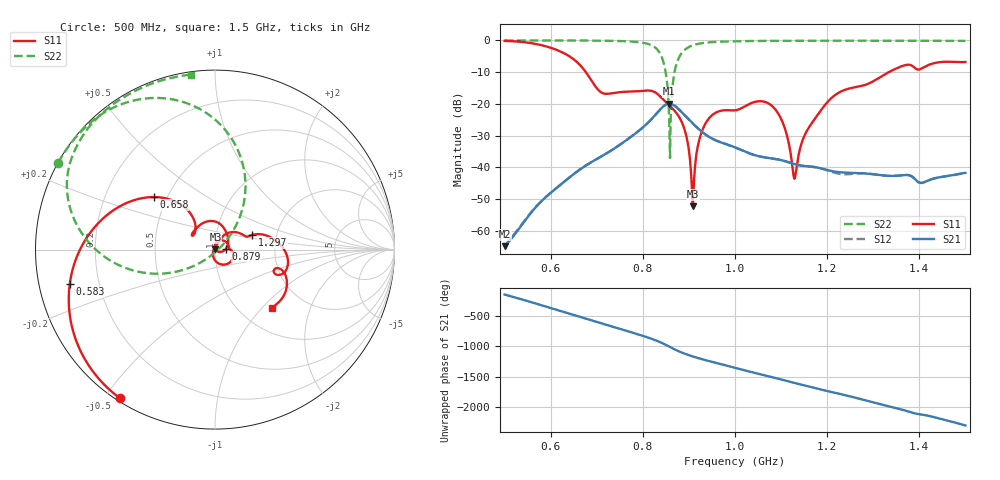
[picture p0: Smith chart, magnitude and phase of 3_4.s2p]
! TOUCHSTONE file generated by CST MICROWAVE STUDIO
! Date and time: Fri Oct  2 16:53:49 2020
! Project name: Scenario_1_Free_Space_out_of_line.cst
! Parameters = {Lambda=346.42; Step_1=17.321; dy1=312.958; dx1=693; L_HA=400; MT=2.54; Rad_Dielectric=30; Rad_Lower=7.3; Rad_Upper=30; a_HA=580; a_WG=246; b_HA=500; b_WG=121; c_HA=0; c_WG=187; d_feed=85; h_feed=15; h_lower=18; h_upper=40}
! Header version: 2018
! Port assignment regex: !\s*Touchstone port\s*([0-9]+)\s*=\s*(CST MWS port|CST DS port)\s*([0-9]+|Zmin|Zmax)\s*\(\"(.*)\"\)(\s*mode\s*([0-9]+))?.*
! Touchstone port assignment:
! Touchstone port 1 = CST MWS port 1 ("")
! Touchstone port 2 = CST MWS port 2 ("")
# GHz S DB R 50
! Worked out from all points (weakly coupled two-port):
!   1003 points, 500 MHz to 1.5 GHz, reference 50 ohm
!   highest |S21| = -19.91 dB at 857 MHz (marker M1); lowest = -64.8 dB at 500 MHz (marker M2)
!   lowest |S11| = -52.2 dB at 908 MHz (marker M3), VSWR 1.00, Z = 50.2 + j0.0716 ohm
!   |S11| at or under -10 dB: 676.3 MHz to 1.334 GHz (657.3 MHz wide, 65.4 % of centre)
!   |S22| runs from -37.0 to 0.0 dB; largest |S21 - S12| = 0.00065
!   S11 on the Smith chart (normalised r, x): 500 MHz: 0.01, -0.55; 583 MHz: 0.09, -0.12; 658 MHz: 0.42, +0.31; 879 MHz: 1.13, +0.01; 1.297 GHz: 1.49, +0.25; 1.5 GHz: 1.39, -1.15
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0.5  -0.15 -122.6  -64.79 -142.5  -64.59 -142.5  -0.01 151.2
0.583  -1.60 -166.7  -50.20 33.7  -50.17 33.6  -0.02 145.4
0.658  -6.94 139.4  -41.21 -138.6  -41.22 -138.6  -0.04 139.2
0.667  -8.29 132.8  -40.28 -160.0  -40.29 -159.9  -0.04 138.3
0.714  -16.66 139.6  -36.19 91.4  -36.19 91.5  -0.09 133.1
0.79  -15.99 128.1  -28.60 -81.9  -28.60 -81.9  -0.54 117.3
0.834  -17.14 73.8  -22.33 161.9  -22.33 161.9  -3.33 86.2
0.848  -19.16 53.1  -20.39 112.5  -20.38 112.5  -8.81 62.3
0.857  -20.41 40.4  -19.91 76.9  -19.91 76.9  -24.04 35.0
0.879  -24.17 4.9  -21.83 -4.3  -21.82 -4.3  -5.21 -171.2
0.895  -30.53 -26.2  -24.19 -51.9  -24.18 -51.9  -2.50 172.8
0.908  -52.23 17.0  -26.10 -85.5  -26.10 -85.5  -1.56 164.4
0.921  -32.14 93.2  -27.88 -115.7  -27.88 -115.6  -1.04 158.3
0.937  -25.89 69.9  -29.74 -149.2  -29.74 -149.1  -0.69 152.7
1  -22.02 4.8  -33.68 84.9  -33.67 85.0  -0.27 140.4
1.084  -21.14 -68.7  -37.25 -75.3  -37.23 -75.4  -0.14 131.2
1.109  -28.06 -104.4  -38.03 -125.5  -38.04 -125.7  -0.12 129.0
1.129  -43.56 157.7  -38.97 -164.4  -38.90 -164.1  -0.11 127.3
1.167  -25.97 63.0  -39.72 124.5  -39.81 125.0  -0.10 124.2
1.297  -13.11 21.5  -42.11 -119.8  -42.06 -120.0  -0.09 114.3
1.334  -9.97 12.5  -42.65 168.9  -42.66 169.9  -0.09 111.5
1.5  -6.80 -45.6  -41.70 -147.6  -41.70 -147.5  -0.14 97.9
